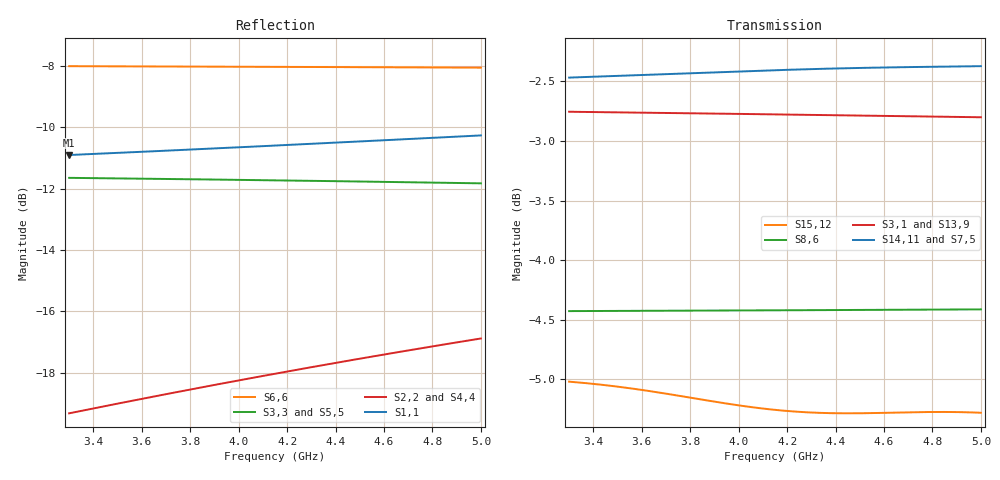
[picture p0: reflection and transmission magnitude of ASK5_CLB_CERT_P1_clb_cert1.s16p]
! Touchstone file exported from HFSS 3D Layout Design 2025.1.0
!  File:  C:/Users/pricewu/Documents/Ansoft/ASK5_CLB_CERT_P1.aedt
!  Generated:  08:49:48 PM May 21, 2026
!  Design:  clb_cert1
!  Project:  ASK5_CLB_CERT_P1
!  Setup:  Setup1
!  Solution:  Sweep1
# GHz S MA R 50.000000
! Terminal data exported
! Port[1] = ANT6_BTB
! Port[2] = ANT6_C10605
! Port[3] = ANT6_C10606
! Port[4] = ANT6_C10610
! Port[5] = ANT6_CONN
! Port[6] = ANT6_L10604
! Port[7] = ANT6_L10610
! Port[8] = ANT6_L10611
! Port[9] = ANT7_BTB
! Port[10] = ANT7_C10706
! Port[11] = ANT7_CONN
! Port[12] = ANT7_L10701
! Port[13] = ANT7_L10702
! Port[14] = ANT7_L10706
! Port[15] = ANT7_L10708
! Port[16] = ANT7_R10701
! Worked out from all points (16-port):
!   171 points, 3.3 GHz to 5 GHz, reference 50 ohm
!   strongest paths, dB at 3.3 GHz, 3.72 GHz, 4.15 GHz, 4.58 GHz, 5 GHz:
!     S14,11: -2.5, -2.4, -2.4, -2.4, -2.4
!     S7,5: -2.7, -2.7, -2.7, -2.7, -2.7
!     S3,1: -2.8, -2.8, -2.8, -2.8, -2.8
!     S13,9: -2.9, -2.8, -2.7, -2.8, -2.9
!     S8,6: -4.4, -4.4, -4.4, -4.4, -4.4
!     S15,12: -5.0, -5.1, -5.3, -5.3, -5.3
!   lowest |S11| = -10.9 dB at 3.3 GHz (marker M1), VSWR 1.80, Z = 32.2 + j15.9 ohm
!   |S11| at or under -10 dB: start of sweep to end of sweep
